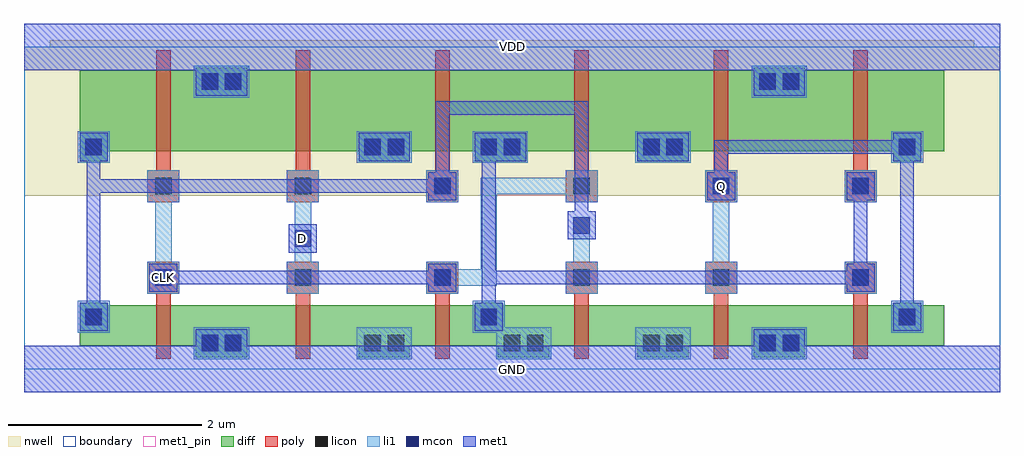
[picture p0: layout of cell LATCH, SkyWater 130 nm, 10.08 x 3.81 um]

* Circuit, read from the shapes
.subckt LATCH CLK D GND Q VDD
XM1 GND CLK n1 VSUBS sky130_fd_pr__nfet_01v8 w=0.42 l=0.15
XM2 n2 D GND VSUBS sky130_fd_pr__nfet_01v8 w=0.42 l=0.15
XM3 n3 CLK n2 VSUBS sky130_fd_pr__nfet_01v8 w=0.42 l=0.15
XM4 n4 n1 n3 VSUBS sky130_fd_pr__nfet_01v8 w=0.42 l=0.15
XM5 GND Q n4 VSUBS sky130_fd_pr__nfet_01v8 w=0.42 l=0.15
XM6 Q n3 GND VSUBS sky130_fd_pr__nfet_01v8 w=0.42 l=0.15
XM7 VDD CLK n1 n5 sky130_fd_pr__pfet_01v8 w=0.84 l=0.15
XM8 n6 D VDD n5 sky130_fd_pr__pfet_01v8 w=0.84 l=0.15
XM9 n3 n1 n6 n5 sky130_fd_pr__pfet_01v8 w=0.84 l=0.15
XM10 n7 CLK n3 n5 sky130_fd_pr__pfet_01v8 w=0.84 l=0.15
XM11 VDD Q n7 n5 sky130_fd_pr__pfet_01v8 w=0.84 l=0.15
XM12 Q n3 VDD n5 sky130_fd_pr__pfet_01v8 w=0.84 l=0.15
.ends

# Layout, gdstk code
import gdstk
lib = gdstk.Library(unit=1e-6, precision=1e-09)
def R(c, l, rs):  # rectangles x0, y0, x1, y1
    for r in rs: c.add(gdstk.rectangle(r[:2], r[2:], *l))
def A(c, l, x, y, w, h, nx, ny, dx, dy):  # array of equal rectangles
    R(c, l, [(x+i*dx, y+j*dy, x+i*dx+w, y+j*dy+h) for i in range(nx) for j in range(ny)])
def P(c, l, *ps):  # polygons
    for p in ps: c.add(gdstk.Polygon(p, *l))
nwell = (64, 20)
diff = (65, 20)
poly = (66, 20)
licon = (66, 44)
li1 = (67, 20)
mcon = (67, 44)
met1_pin = (68, 16)
met1 = (68, 20)
boundary = (235, 4)

latch = lib.new_cell('LATCH')
P(latch, nwell, [(0,1.79),(0,3.33),(0.265,3.33),(0.265,3.4),(9.815,3.4),(9.815,3.33),(10.08,3.33),(10.08,1.79)])
P(latch, diff, [(1.775,0.125),(1.775,0.24),(0.575,0.24),(0.575,0.685),(0.865,0.685),(0.865,0.66),(4.655,0.66),(4.655,0.685),(4.945,0.685),(4.945,0.66),(8.975,0.66),(8.975,0.685),(9.265,0.685),(9.265,0.66),(9.505,0.66),(9.505,0.24),(8.065,0.24),(8.065,0.125),(7.535,0.125),(7.535,0.24),(6.865,0.24),(6.865,0.125),(6.335,0.125),(6.335,0.24),(5.425,0.24),(5.425,0.125),(4.895,0.125),(4.895,0.24),(3.985,0.24),(3.985,0.125),(3.455,0.125),(3.455,0.24),(2.305,0.24),(2.305,0.125)],
  [(0.575,2.15),(0.575,3.09),(1.775,3.09),(1.775,3.115),(2.305,3.115),(2.305,3.09),(7.535,3.09),(7.535,3.115),(8.065,3.115),(8.065,3.09),(9.505,3.09),(9.505,2.25),(9.265,2.25),(9.265,2.15),(8.975,2.15),(8.975,2.25),(6.865,2.25),(6.865,2.15),(6.335,2.15),(6.335,2.25),(5.185,2.25),(5.185,2.15),(4.655,2.15),(4.655,2.25),(3.985,2.25),(3.985,2.15),(3.455,2.15),(3.455,2.25),(0.865,2.25),(0.865,2.15)])
P(latch, poly, [(1.365,0.11),(1.365,0.78),(1.275,0.78),(1.275,1.11),(1.605,1.11),(1.605,0.78),(1.515,0.78),(1.515,0.11)],
  [(2.805,0.11),(2.805,0.78),(2.715,0.78),(2.715,1.11),(3.045,1.11),(3.045,0.78),(2.955,0.78),(2.955,0.11)],
  [(4.245,0.11),(4.245,0.78),(4.155,0.78),(4.155,1.11),(4.485,1.11),(4.485,0.78),(4.395,0.78),(4.395,0.11)],
  [(5.685,0.11),(5.685,0.78),(5.595,0.78),(5.595,1.11),(5.925,1.11),(5.925,0.78),(5.835,0.78),(5.835,0.11)],
  [(7.125,0.11),(7.125,0.78),(7.035,0.78),(7.035,1.11),(7.365,1.11),(7.365,0.78),(7.275,0.78),(7.275,0.11)],
  [(8.565,0.11),(8.565,0.78),(8.475,0.78),(8.475,1.11),(8.805,1.11),(8.805,0.78),(8.715,0.78),(8.715,0.11)],
  [(1.275,1.725),(1.275,2.055),(1.365,2.055),(1.365,3.295),(1.515,3.295),(1.515,2.055),(1.605,2.055),(1.605,1.725)],
  [(2.715,1.725),(2.715,2.055),(2.805,2.055),(2.805,3.295),(2.955,3.295),(2.955,2.055),(3.045,2.055),(3.045,1.725)],
  [(4.155,1.725),(4.155,2.055),(4.245,2.055),(4.245,3.295),(4.395,3.295),(4.395,2.055),(4.485,2.055),(4.485,1.725)],
  [(5.595,1.725),(5.595,2.055),(5.685,2.055),(5.685,3.295),(5.835,3.295),(5.835,2.055),(5.925,2.055),(5.925,1.725)],
  [(7.035,1.725),(7.035,2.055),(7.125,2.055),(7.125,3.295),(7.275,3.295),(7.275,2.055),(7.365,2.055),(7.365,1.725)],
  [(8.475,1.725),(8.475,2.055),(8.565,2.055),(8.565,3.295),(8.715,3.295),(8.715,2.055),(8.805,2.055),(8.805,1.725)])
A(latch, licon, 1.355, 0.86, 0.17, 0.17, 6, 2, 1.44, 0.945)
R(latch, licon, [(1.835,0.185,2.005,0.355), (2.075,0.185,2.245,0.355), (3.515,0.185,3.685,0.355), (3.755,0.185,3.925,0.355), (4.955,0.185,5.125,0.355), (5.195,0.185,5.365,0.355), (6.395,0.185,6.565,0.355), (6.635,0.185,6.805,0.355), (7.595,0.185,7.765,0.355), (7.835,0.185,8.005,0.355), (0.635,0.455,0.805,0.625), (4.715,0.455,4.885,0.625), (9.035,0.455,9.205,0.625), (0.635,2.21,0.805,2.38), (3.515,2.21,3.685,2.38), (3.755,2.21,3.925,2.38), (4.715,2.21,4.885,2.38), (4.955,2.21,5.125,2.38), (6.395,2.21,6.565,2.38), (6.635,2.21,6.805,2.38), (9.035,2.21,9.205,2.38), (1.835,2.885,2.005,3.055), (2.075,2.885,2.245,3.055), (7.595,2.885,7.765,3.055), (7.835,2.885,8.005,3.055)])
R(latch, li1, [(1.755,0.105,2.325,0.435), (3.435,0.105,4.005,0.435), (6.315,0.105,6.885,0.435), (7.515,0.105,8.085,0.435), (0.555,0.375,0.885,0.705), (8.955,0.375,9.285,0.705), (8.475,0.78,8.805,1.11), (4.155,1.725,4.485,2.055), (8.475,1.725,8.805,2.055), (0.555,2.13,0.885,2.46), (3.435,2.13,4.005,2.46), (4.635,2.13,5.205,2.46), (6.315,2.13,6.885,2.46), (8.955,2.13,9.285,2.46), (1.755,2.805,2.325,3.135), (7.515,2.805,8.085,3.135)])
P(latch, li1, [(4.875,0.105),(4.875,0.375),(4.635,0.375),(4.635,0.705),(4.965,0.705),(4.965,0.435),(5.445,0.435),(5.445,0.105)],
  [(5.595,0.78),(5.595,1.11),(5.675,1.11),(5.675,1.57),(5.845,1.57),(5.845,1.11),(5.925,1.11),(5.925,0.78)],
  [(1.275,0.78),(1.275,1.11),(1.355,1.11),(1.355,1.725),(1.275,1.725),(1.275,2.055),(1.605,2.055),(1.605,1.725),(1.525,1.725),(1.525,1.11),(1.605,1.11),(1.605,0.78)],
  [(2.715,0.78),(2.715,1.11),(2.795,1.11),(2.795,1.725),(2.715,1.725),(2.715,2.055),(3.045,2.055),(3.045,1.725),(2.965,1.725),(2.965,1.11),(3.045,1.11),(3.045,0.78)],
  [(4.155,0.78),(4.155,1.11),(4.485,1.11),(4.485,1.03),(4.715,1.03),(4.715,1.975),(5.595,1.975),(5.595,2.055),(5.925,2.055),(5.925,1.725),(5.595,1.725),(5.595,1.805),(4.885,1.805),(4.885,0.86),(4.485,0.86),(4.485,0.78)],
  [(7.035,0.78),(7.035,1.11),(7.115,1.11),(7.115,1.725),(7.035,1.725),(7.035,2.055),(7.365,2.055),(7.365,1.725),(7.285,1.725),(7.285,1.11),(7.365,1.11),(7.365,0.78)])
R(latch, mcon, [(1.835,0.185,2.005,0.355), (2.075,0.185,2.245,0.355), (7.595,0.185,7.765,0.355), (7.835,0.185,8.005,0.355), (0.635,0.455,0.805,0.625), (4.715,0.455,4.885,0.625), (9.035,0.455,9.205,0.625), (1.355,0.86,1.525,1.03), (4.235,0.86,4.405,1.03), (8.555,0.86,8.725,1.03), (2.795,1.265,2.965,1.435), (5.675,1.4,5.845,1.57), (4.235,1.805,4.405,1.975), (7.115,1.805,7.285,1.975), (8.555,1.805,8.725,1.975), (0.635,2.21,0.805,2.38), (3.515,2.21,3.685,2.38), (3.755,2.21,3.925,2.38), (4.715,2.21,4.885,2.38), (4.955,2.21,5.125,2.38), (6.395,2.21,6.565,2.38), (6.635,2.21,6.805,2.38), (9.035,2.21,9.205,2.38), (1.835,2.885,2.005,3.055), (2.075,2.885,2.245,3.055), (7.595,2.885,7.765,3.055), (7.835,2.885,8.005,3.055)])
R(latch, met1_pin, [(0,-0.24,10.08,0.24), (2.735,1.205,3.025,1.495), (0,3.09,10.08,3.57)])
P(latch, met1_pin, [(8.975,0.395),(8.975,0.685),(9.05,0.685),(9.05,2.15),(8.975,2.15),(8.975,2.225),(7.27,2.225),(7.27,2.035),(7.345,2.035),(7.345,1.745),(7.055,1.745),(7.055,2.035),(7.13,2.035),(7.13,2.365),(8.975,2.365),(8.975,2.44),(9.265,2.44),(9.265,2.15),(9.19,2.15),(9.19,0.685),(9.265,0.685),(9.265,0.395)],
  [(1.295,0.8),(1.295,1.09),(1.585,1.09),(1.585,1.015),(4.175,1.015),(4.175,1.09),(4.465,1.09),(4.465,0.8),(4.175,0.8),(4.175,0.875),(1.585,0.875),(1.585,0.8)])
R(latch, met1, [(2.735,1.205,3.025,1.495), (3.455,2.15,3.985,2.44), (6.335,2.15,6.865,2.44)])
P(latch, met1, [(0,-0.24),(0,0.24),(1.775,0.24),(1.775,0.415),(2.305,0.415),(2.305,0.24),(7.535,0.24),(7.535,0.415),(8.065,0.415),(8.065,0.24),(10.08,0.24),(10.08,-0.24)],
  [(1.295,0.8),(1.295,1.09),(1.585,1.09),(1.585,1.015),(4.175,1.015),(4.175,1.09),(4.465,1.09),(4.465,0.8),(4.175,0.8),(4.175,0.875),(1.585,0.875),(1.585,0.8)],
  [(4.655,0.395),(4.655,0.685),(4.73,0.685),(4.73,2.15),(4.655,2.15),(4.655,2.44),(5.185,2.44),(5.185,2.15),(4.87,2.15),(4.87,1.015),(8.495,1.015),(8.495,1.09),(8.57,1.09),(8.57,1.745),(8.495,1.745),(8.495,2.035),(8.785,2.035),(8.785,1.745),(8.71,1.745),(8.71,1.09),(8.785,1.09),(8.785,0.8),(8.495,0.8),(8.495,0.875),(4.87,0.875),(4.87,0.685),(4.945,0.685),(4.945,0.395)],
  [(8.975,0.395),(8.975,0.685),(9.05,0.685),(9.05,2.15),(8.975,2.15),(8.975,2.225),(7.27,2.225),(7.27,2.035),(7.345,2.035),(7.345,1.745),(7.055,1.745),(7.055,2.035),(7.13,2.035),(7.13,2.365),(8.975,2.365),(8.975,2.44),(9.265,2.44),(9.265,2.15),(9.19,2.15),(9.19,0.685),(9.265,0.685),(9.265,0.395)],
  [(0.575,0.395),(0.575,0.685),(0.65,0.685),(0.65,2.15),(0.575,2.15),(0.575,2.44),(0.865,2.44),(0.865,2.15),(0.79,2.15),(0.79,1.96),(4.175,1.96),(4.175,2.035),(4.25,2.035),(4.25,2.77),(5.83,2.77),(5.83,1.63),(5.905,1.63),(5.905,1.34),(5.615,1.34),(5.615,1.63),(5.69,1.63),(5.69,2.63),(4.39,2.63),(4.39,2.035),(4.465,2.035),(4.465,1.745),(4.175,1.745),(4.175,1.82),(0.79,1.82),(0.79,0.685),(0.865,0.685),(0.865,0.395)],
  [(1.775,2.825),(1.775,3.09),(0,3.09),(0,3.57),(10.08,3.57),(10.08,3.09),(8.065,3.09),(8.065,2.825),(7.535,2.825),(7.535,3.09),(2.305,3.09),(2.305,2.825)])
R(latch, boundary, [(0,0,10.08,3.33)])
latch.add(gdstk.Label('Q', (7.2,1.89), layer=68, texttype=5))
latch.add(gdstk.Label('D', (2.88,1.35), layer=68, texttype=5))
latch.add(gdstk.Label('CLK', (1.44,0.945), layer=68, texttype=5))
latch.add(gdstk.Label('GND', (5.04,0), layer=68, texttype=5))
latch.add(gdstk.Label('VDD', (5.04,3.33), layer=68, texttype=5))

lib.write_gds('LATCH.gds')
